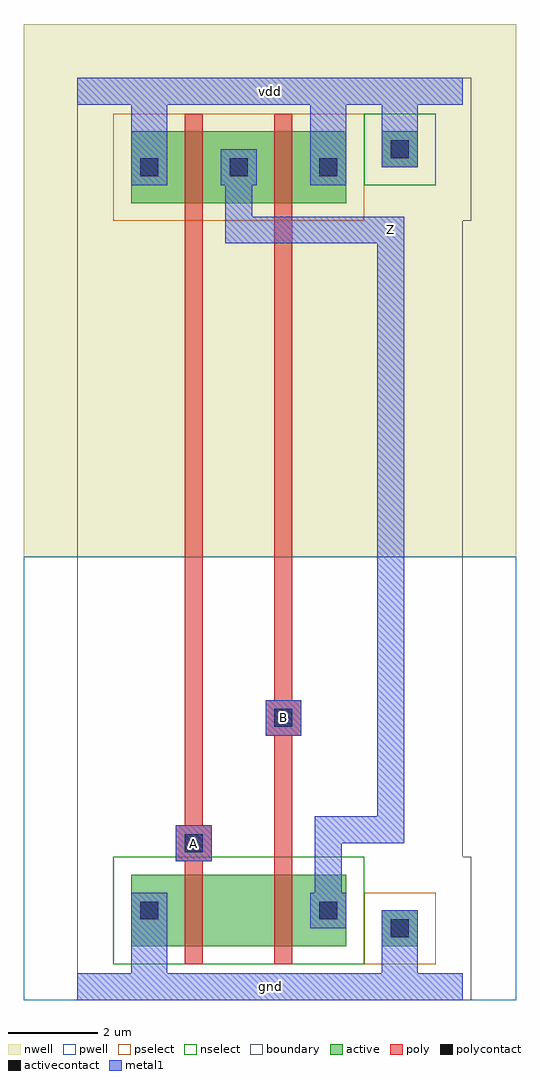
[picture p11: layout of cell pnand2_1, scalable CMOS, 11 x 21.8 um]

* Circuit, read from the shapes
.subckt pnand2_1 A B Z gnd vdd
M1 nmos_m1_w1_600_sm1_dactive_2/D A gnd gnd nfet w=1.6u l=0.4u
M2 Z B nmos_m1_w1_600_sm1_dactive_2/D gnd nfet w=1.6u l=0.4u
M3 Z A vdd vdd pfet w=1.6u l=0.4u
M4 vdd B Z vdd pfet w=1.6u l=0.4u
.ends

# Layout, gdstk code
import gdstk
lib = gdstk.Library(unit=1e-6, precision=1e-09)
def R(c, l, rs):  # rectangles x0, y0, x1, y1
    for r in rs: c.add(gdstk.rectangle(r[:2], r[2:], *l))
pwell = (41, 0)
nwell = (42, 0)
active = (43, 0)
pselect = (44, 0)
nselect = (45, 0)
poly = (46, 0)
polycontact = (47, 0)
activecontact = (48, 0)
metal1 = (49, 0)
boundary = (63, 0)

contact_9 = lib.new_cell('contact_9')
R(contact_9, nwell, [(-1.2,-1.2,2,2)])
R(contact_9, active, [(0,0,0.8,0.8)])
R(contact_9, pselect, [(-0.4,-0.4,1.2,1.2)])
R(contact_9, activecontact, [(0.2,0.2,0.6,0.6)])
R(contact_9, metal1, [(0,0,0.8,0.8)])
R(contact_9, boundary, [(-1.2,-1.2,2,2)])

pmos_m1_w1_600_sm1_dm1 = lib.new_cell('pmos_m1_w1_600_sm1_dm1')
R(pmos_m1_w1_600_sm1_dm1, nwell, [(-1.2,-1.2,4,2.8)])
R(pmos_m1_w1_600_sm1_dm1, active, [(0,0,2.8,1.6)])
R(pmos_m1_w1_600_sm1_dm1, pselect, [(-0.4,-0.4,3.2,2)])
R(pmos_m1_w1_600_sm1_dm1, poly, [(1.2,-0.4,1.6,2), (1.2,-0.4,1.6,2)])
R(pmos_m1_w1_600_sm1_dm1, metal1, [(0,0.4,0.8,1.2), (2,0.4,2.8,1.2)])
R(pmos_m1_w1_600_sm1_dm1, boundary, [(-1.2,-1.2,4,2.8)])
pmos_m1_w1_600_sm1_dm1.add(gdstk.Reference(contact_9, (0,0.4)))
pmos_m1_w1_600_sm1_dm1.add(gdstk.Reference(contact_9, (2,0.4)))
pmos_m1_w1_600_sm1_dm1.add(gdstk.Label('G', (1.4,0.8), layer=46, texttype=0))
pmos_m1_w1_600_sm1_dm1.add(gdstk.Label('S', (0.4,0.8), layer=49, texttype=0))
pmos_m1_w1_600_sm1_dm1.add(gdstk.Label('D', (2.4,0.8), layer=49, texttype=0))

contact_14 = lib.new_cell('contact_14')
R(contact_14, pwell, [(-1.2,-1.2,2,2)])
R(contact_14, active, [(0,0,0.8,0.8)])
R(contact_14, nselect, [(-0.4,-0.4,1.2,1.2)])
R(contact_14, activecontact, [(0.2,0.2,0.6,0.6)])
R(contact_14, metal1, [(0,0,0.8,0.8)])
R(contact_14, boundary, [(-1.2,-1.2,2,2)])

nmos_m1_w1_600_sm1_dacti = lib.new_cell('nmos_m1_w1_600_sm1_dactive')
R(nmos_m1_w1_600_sm1_dacti, pwell, [(-1.2,-1.2,4,2.8)])
R(nmos_m1_w1_600_sm1_dacti, active, [(0,0,2.8,1.6), (2.1,0.5,2.7,1.1)])
R(nmos_m1_w1_600_sm1_dacti, nselect, [(-0.4,-0.4,3.2,2)])
R(nmos_m1_w1_600_sm1_dacti, poly, [(1.2,-0.4,1.6,2), (1.2,-0.4,1.6,2)])
R(nmos_m1_w1_600_sm1_dacti, metal1, [(0,0.4,0.8,1.2)])
R(nmos_m1_w1_600_sm1_dacti, boundary, [(-1.2,-1.2,4,2.8)])
nmos_m1_w1_600_sm1_dacti.add(gdstk.Reference(contact_14, (0,0.4)))
nmos_m1_w1_600_sm1_dacti.add(gdstk.Label('G', (1.4,0.8), layer=46, texttype=0))
nmos_m1_w1_600_sm1_dacti.add(gdstk.Label('S', (0.4,0.8), layer=49, texttype=0))
nmos_m1_w1_600_sm1_dacti.add(gdstk.Label('D', (2.4,0.8), layer=43, texttype=0))

nmos_m1_w1_600_sactive_d = lib.new_cell('nmos_m1_w1_600_sactive_dm1')
R(nmos_m1_w1_600_sactive_d, pwell, [(-1.2,-1.2,4,2.8)])
R(nmos_m1_w1_600_sactive_d, active, [(0,0,2.8,1.6), (0.1,0.5,0.7,1.1)])
R(nmos_m1_w1_600_sactive_d, nselect, [(-0.4,-0.4,3.2,2)])
R(nmos_m1_w1_600_sactive_d, poly, [(1.2,-0.4,1.6,2), (1.2,-0.4,1.6,2)])
R(nmos_m1_w1_600_sactive_d, metal1, [(2,0.4,2.8,1.2)])
R(nmos_m1_w1_600_sactive_d, boundary, [(-1.2,-1.2,4,2.8)])
nmos_m1_w1_600_sactive_d.add(gdstk.Reference(contact_14, (2,0.4)))
nmos_m1_w1_600_sactive_d.add(gdstk.Label('G', (1.4,0.8), layer=46, texttype=0))
nmos_m1_w1_600_sactive_d.add(gdstk.Label('S', (0.4,0.8), layer=43, texttype=0))
nmos_m1_w1_600_sactive_d.add(gdstk.Label('D', (2.4,0.8), layer=49, texttype=0))

contact_15 = lib.new_cell('contact_15')
R(contact_15, nwell, [(-1.2,-1.2,2,2)])
R(contact_15, active, [(0,0,0.8,0.8)])
R(contact_15, nselect, [(-0.4,-0.4,1.2,1.2)])
R(contact_15, activecontact, [(0.2,0.2,0.6,0.6)])
R(contact_15, metal1, [(0,0,0.8,0.8)])
R(contact_15, boundary, [(-1.2,-1.2,2,2)])

contact_16 = lib.new_cell('contact_16')
R(contact_16, pwell, [(-1.2,-1.2,2,2)])
R(contact_16, active, [(0,0,0.8,0.8)])
R(contact_16, pselect, [(-0.4,-0.4,1.2,1.2)])
R(contact_16, activecontact, [(0.2,0.2,0.6,0.6)])
R(contact_16, metal1, [(0,0,0.8,0.8)])
R(contact_16, boundary, [(-1.2,-1.2,2,2)])

contact_10 = lib.new_cell('contact_10')
R(contact_10, poly, [(0,0,0.8,0.8)])
R(contact_10, polycontact, [(0.2,0.2,0.6,0.6)])
R(contact_10, metal1, [(0,0,0.8,0.8)])
R(contact_10, boundary, [(0,0,0.8,0.8)])

pnand2_1 = lib.new_cell('pnand2_1')
R(pnand2_1, pwell, [(-1.2,-0.3,9.8,9.6)])
R(pnand2_1, nwell, [(-1.2,9.6,9.8,21.5)])
R(pnand2_1, poly, [(2.4,2.8,2.6,3.6), (2.4,2.9,2.8,17.1), (4.4,2.9,4.8,17.1), (4.4,5.6,4.6,6.4)])
R(pnand2_1, metal1, [(0,-0.3,8.6,0.3), (1.2,-0.3,2,1.3), (6.8,0,7.6,1.3), (5.3,2.1,5.9,3.5), (2.2,2.8,3,3.6), (5.3,3.2,5.9,3.8), (5.6,3.2,7,3.8), (6.7,3.2,7.3,3.8), (6.7,3.5,7.3,16.9), (4.2,5.6,5,6.4), (3.3,16.6,3.9,17.2), (3.6,16.6,7,17.2), (6.7,16.6,7.3,17.2), (3.3,16.9,3.9,17.9), (1.2,17.9,2,20.3), (5.2,17.9,6,20.3), (6.8,18.7,7.6,20), (0,19.7,8.6,20.3)])
R(pnand2_1, boundary, [(0,0,8.6,20), (0,0,8.6,20)])
pnand2_1.add(gdstk.Reference(pmos_m1_w1_600_sm1_dm1, (1.2,17.5)))
pnand2_1.add(gdstk.Reference(pmos_m1_w1_600_sm1_dm1, (3.2,17.5)))
pnand2_1.add(gdstk.Reference(nmos_m1_w1_600_sm1_dacti, (1.2,0.9)))
pnand2_1.add(gdstk.Reference(nmos_m1_w1_600_sactive_d, (3.2,0.9)))
pnand2_1.add(gdstk.Reference(contact_15, (6.8,18.3)))
pnand2_1.add(gdstk.Reference(contact_16, (6.8,0.9)))
pnand2_1.add(gdstk.Reference(contact_10, (2.2,2.8)))
pnand2_1.add(gdstk.Reference(contact_10, (4.2,5.6)))
pnand2_1.add(gdstk.Label('Z', (7,16.9), layer=49, texttype=0))
pnand2_1.add(gdstk.Label('gnd', (4.3,0), layer=49, texttype=0))
pnand2_1.add(gdstk.Label('vdd', (4.3,20), layer=49, texttype=0))
pnand2_1.add(gdstk.Label('A', (2.6,3.2), layer=49, texttype=0))
pnand2_1.add(gdstk.Label('B', (4.6,6), layer=49, texttype=0))

lib.write_gds('pnand2_1.gds')
